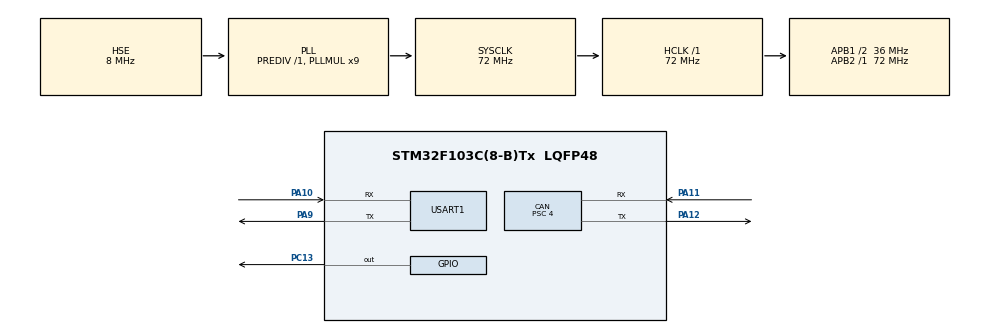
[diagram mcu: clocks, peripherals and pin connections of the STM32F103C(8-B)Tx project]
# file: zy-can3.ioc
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CAN.BS1=CAN_BS1_6TQ
CAN.BS2=CAN_BS2_2TQ
CAN.CalculateBaudRate=1000000
CAN.CalculateTimeBit=1000
CAN.CalculateTimeQuantum=111.11111111111111
CAN.Prescaler=4
Mcu.Family=STM32F1
Mcu.Name=STM32F103C(8-B)Tx
Mcu.Package=LQFP48
NVIC.CAN1_SCE_IRQn=true\:0\:0\:false\:false\:true\:true\:true\:true
NVIC.PriorityGroup=NVIC_PRIORITYGROUP_4
NVIC.TIM2_IRQn=true\:0\:0\:false\:false\:true\:true\:true\:true
NVIC.USART1_IRQn=true\:0\:0\:false\:false\:true\:true\:true\:true
NVIC.USB_LP_CAN1_RX0_IRQn=true\:0\:0\:false\:false\:true\:true\:true\:true
PA10.Mode=Asynchronous
PA10.Signal=USART1_RX
PA11.Mode=CAN_Activate
PA11.Signal=CAN_RX
PA12.Mode=CAN_Activate
PA12.Signal=CAN_TX
PA13.Mode=Serial_Wire
PA13.Signal=SYS_JTMS-SWDIO
PA14.Mode=Serial_Wire
PA14.Signal=SYS_JTCK-SWCLK
PA9.Mode=Asynchronous
PA9.Signal=USART1_TX
PC13-TAMPER-RTC.Signal=GPIO_Output
PD0-OSC_IN.Mode=HSE-External-Oscillator
PD0-OSC_IN.Signal=RCC_OSC_IN
PD1-OSC_OUT.Mode=HSE-External-Oscillator
PD1-OSC_OUT.Signal=RCC_OSC_OUT
ProjectManager.HeapSize=0x200
ProjectManager.StackSize=0x400
ProjectManager.TargetToolchain=MDK-ARM V5.32
RCC.AHBFreq_Value=72000000
RCC.APB1CLKDivider=RCC_HCLK_DIV2
RCC.APB1Freq_Value=36000000
RCC.APB1TimFreq_Value=72000000
RCC.APB2Freq_Value=72000000
RCC.APB2TimFreq_Value=72000000
RCC.HCLKFreq_Value=72000000
RCC.PLLMUL=RCC_PLL_MUL9
RCC.PLLSourceVirtual=RCC_PLLSOURCE_HSE
RCC.SYSCLKFreq_VALUE=72000000
RCC.SYSCLKSource=RCC_SYSCLKSOURCE_PLLCLK
RCC.USBFreq_Value=72000000
TIM2.Period=999
TIM2.Prescaler=71
USART1.VirtualMode=VM_ASYNC
VP_TIM2_VS_ClockSourceINT.Mode=Internal
board=custom

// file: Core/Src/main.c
/* USER CODE BEGIN Header */
/**
  ******************************************************************************
  * @file           : main.c
  * @brief          : Main program body
  ******************************************************************************
  * @attention
  *
  * Copyright (c) 2025 STMicroelectronics.
  * All rights reserved.
  *
  * This software is licensed under terms that can be found in the LICENSE file
  * in the root directory of this software component.
  * If no LICENSE file comes with this software, it is provided AS-IS.
  *
  ******************************************************************************
  */
/* USER CODE END Header */
#include "main.h"
#include "can.h"
#include "tim.h"
#include "usart.h"
#include "gpio.h"

/* USER CODE BEGIN Includes */
#include "vofa.h"
#include "motor.h"
#include "pid.h"
/* USER CODE END Includes */

/* USER CODE BEGIN PV */
PID_TypeDef angle_pid;
PID_TypeDef speed_pid;

/* USER CODE END PV */

void SystemClock_Config(void);

int main(void)
{

  /* MCU Configuration--------------------------------------------------------*/

  /* Reset of all peripherals, Initializes the Flash interface and the Systick. */
  HAL_Init();

  /* Configure the system clock */
  SystemClock_Config();

  /* Initialize all configured peripherals */
  MX_GPIO_Init();
  MX_CAN_Init();
  MX_TIM2_Init();
  MX_USART1_UART_Init();
  /* USER CODE BEGIN 2 */
    PID_Init(&angle_pid, 2.0f, 0.0f, 0.5f, 1000.0f, -1000.0f);
    PID_Init(&speed_pid, 5.0f, 0.1f, 0.0f, 500.0f, -500.0f);
    CAN_Motor_Init();
    CAN_Receive_Init();
    VOFA_Init();
  /* USER CODE END 2 */

  /* Infinite loop */
  /* USER CODE BEGIN WHILE */
  while (1)
  {
        angle_pid.fdb = motor_state[0].angle;
        speed_pid.fdb = motor_state[0].speed;
        angle_pid.set = 0.0f;
        speed_pid.set = PID_Calc(&angle_pid);
        float motor_current = PID_Calc(&speed_pid);
        CAN_Send_Motor_Cmd(0, motor_current);
        float angle_set, speed_set, kp1, ki1, kd1, kp2, ki2, kd2;
        VOFA_Parse_Setpoint(&angle_set, &speed_set, &kp1, &ki1, &kd1, &kp2, &ki2, &kd2);
        angle_pid.set = angle_set;
        speed_pid.set = speed_set;
        angle_pid.kp = kp1;
        angle_pid.ki = ki1;
        angle_pid.kd = kd1;
        speed_pid.kp = kp2;
        speed_pid.ki = ki2;
        speed_pid.kd = kd2;
        VOFA_Send_Data(angle_pid.set, angle_pid.fdb, speed_pid.set, speed_pid.fdb, motor_current);
        HAL_Delay(10);
  }
    /* USER CODE END WHILE */

}

void SystemClock_Config(void)
{
  RCC_OscInitTypeDef RCC_OscInitStruct = {0};
  RCC_ClkInitTypeDef RCC_ClkInitStruct = {0};

  /** Initializes the RCC Oscillators according to the specified parameters
  * in the RCC_OscInitTypeDef structure.
  */
  RCC_OscInitStruct.OscillatorType = RCC_OSCILLATORTYPE_HSE;
  RCC_OscInitStruct.HSEState = RCC_HSE_ON;
  RCC_OscInitStruct.HSEPredivValue = RCC_HSE_PREDIV_DIV1;
  RCC_OscInitStruct.HSIState = RCC_HSI_ON;
  RCC_OscInitStruct.PLL.PLLState = RCC_PLL_ON;
  RCC_OscInitStruct.PLL.PLLSource = RCC_PLLSOURCE_HSE;
  RCC_OscInitStruct.PLL.PLLMUL = RCC_PLL_MUL9;
  if (HAL_RCC_OscConfig(&RCC_OscInitStruct) != HAL_OK)
  {
    Error_Handler();
  }

  /** Initializes the CPU, AHB and APB buses clocks
  */
  RCC_ClkInitStruct.ClockType = RCC_CLOCKTYPE_HCLK|RCC_CLOCKTYPE_SYSCLK
                              |RCC_CLOCKTYPE_PCLK1|RCC_CLOCKTYPE_PCLK2;
  RCC_ClkInitStruct.SYSCLKSource = RCC_SYSCLKSOURCE_PLLCLK;
  RCC_ClkInitStruct.AHBCLKDivider = RCC_SYSCLK_DIV1;
  RCC_ClkInitStruct.APB1CLKDivider = RCC_HCLK_DIV2;
  RCC_ClkInitStruct.APB2CLKDivider = RCC_HCLK_DIV1;

  if (HAL_RCC_ClockConfig(&RCC_ClkInitStruct, FLASH_LATENCY_2) != HAL_OK)
  {
    Error_Handler();
  }
}

/* USER CODE BEGIN 4 */
void USART1_IRQHandler(void) {
    uint8_t ch;
    if (__HAL_UART_GET_FLAG(&huart1, UART_FLAG_RXNE) != RESET) {
        HAL_UART_Receive(&huart1, &ch, 1, 0);
        RingBuffer_Put(&vofa_rx_ringbuf, ch);
        if (ch == '\n') {
            vofa_parse_flag = 1;
        }
        __HAL_UART_CLEAR_FLAG(&huart1, UART_FLAG_RXNE);
    }
}
/* USER CODE END 4 */

void Error_Handler(void)
{
  __disable_irq();
  while (1)
  {
  }
}
